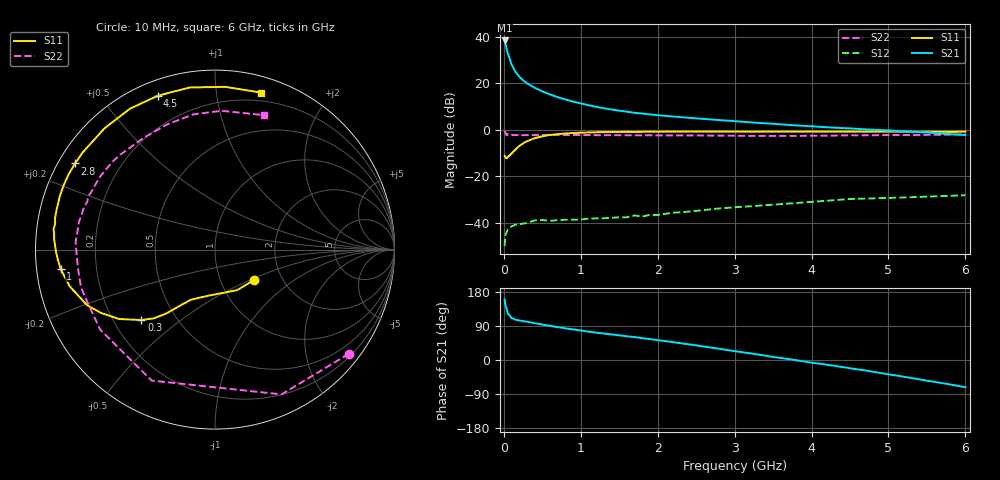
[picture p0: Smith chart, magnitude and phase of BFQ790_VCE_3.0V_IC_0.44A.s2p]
! (c) 2015  Infineon Technologies AG, Munich
! Infineon Technologies  Discrete & RF Semiconductors
! BFQ790
! VCE =  3.0 V,  IC = 0.44 A
! Common Emitter S-Parameters:  May 2015
# GHz  S  MA  R  50
!  f  S11  S21  S12  S22
! GHz  MAG  ANG  MAG  ANG  MAG  ANG  MAG  ANG
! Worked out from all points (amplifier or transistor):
!   77 points, 10 MHz to 6 GHz, reference 50 ohm
!   highest |S21| = 38.3 dB at 10 MHz (marker M1)
!   |S21| within 3 dB of that: start of sweep to 32.75 MHz
!   unconditionally stable (mu >= 1): 161 MHz to end of sweep
!   at 130 MHz: K = 0.88, MSG = 33.6 dB, |S12| = -41.0 dB
!   at 2.2 GHz: K = 1.39, MAG = 16.9 dB, |S12| = -35.5 dB
!   at 6 GHz: K = 1.10, MAG = 10.9 dB, |S12| = -28.0 dB
!   S11 on the Smith chart (normalised r, x): 10 MHz: 1.44, -0.53; 300 MHz: 0.32, -0.37; 1 GHz: 0.07, -0.06; 2.8 GHz: 0.05, +0.28; 4.5 GHz: 0.07, +0.69; 6 GHz: 0.13, +1.33
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0.01  0.2756 -38.2  82.31 159.9  0.0032 69.8  0.945 -37.9
0.02  0.2574 -61.4  71.01 145.4  0.0055 55.0  0.8878 -65.3
0.05  0.2599 -98.5  43.63 122.2  0.0073 29.4  0.8105 -115.8
0.1  0.3097 -115.7  24.88 110.7  0.0085 22.9  0.7797 -145.1
0.15  0.3771 -122.7  17.55 106.4  0.0092 21.7  0.7691 -157.7
0.2  0.4475 -127.3  13.8 104.4  0.0094 21.1  0.7752 -164.1
0.25  0.512 -131.6  11.54 102.5  0.0098 19.6  0.7714 -168.4
0.3  0.5676 -136.3  9.936 100.9  0.01 16.7  0.7703 -171.8
0.4  0.6606 -144.2  7.955 97.2  0.0114 18.0  0.7708 -176.5
0.5  0.7253 -150.8  6.648 93.6  0.0116 13.6  0.7731 -180.0
0.6  0.777 -156.5  5.734 90.2  0.0112 14.3  0.7772 177.3
0.8  0.8347 -165.8  4.477 83.7  0.0118 10.4  0.7729 173.0
1  0.8669 -173.0  3.678 77.9  0.0119 17.1  0.7735 169.5
1.1  0.8775 -176.3  3.37 75.0  0.0125 15.9  0.7726 167.7
1.5  0.8997 174.7  2.57 65.1  0.0133 18.4  0.7666 162.0
2.1  0.9116 163.4  1.99 49.8  0.0158 19.7  0.7589 153.2
2.8  0.9155 148.4  1.618 29.6  0.0206 13.0  0.7521 138.9
3.1  0.9117 141.4  1.49 20.6  0.0224 10.1  0.7424 132.4
4.1  0.914 119.1  1.161 -9.7  0.0293 -4.7  0.7473 108.6
4.5  0.9147 110.5  1.072 -21.8  0.0329 -12.6  0.7628 99.2
5.1  0.9096 96.4  0.948 -40.9  0.035 -25.7  0.7732 85.3
6  0.9116 73.6  0.774 -71.9  0.0397 -47.6  0.7978 69.8
